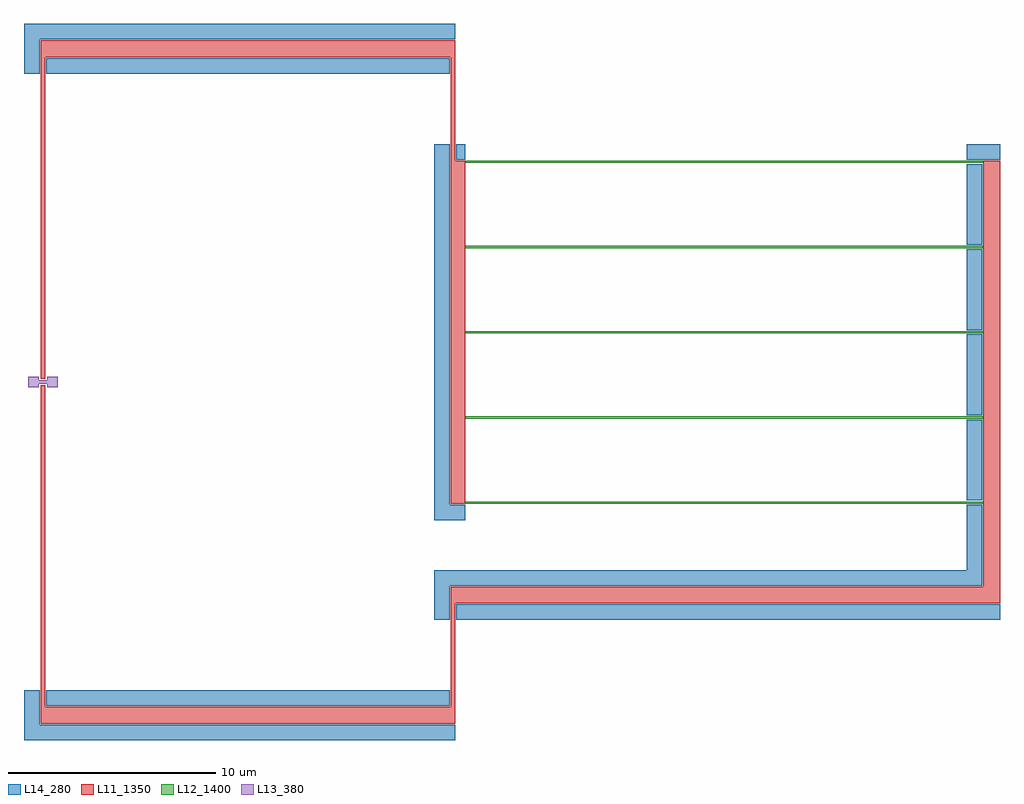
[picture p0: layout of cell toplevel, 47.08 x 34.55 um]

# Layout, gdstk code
from math import pi, radians
import gdstk
lib = gdstk.Library(unit=1e-6, precision=1e-09)
def R(c, l, rs):  # rectangles x0, y0, x1, y1
    for r in rs: c.add(gdstk.rectangle(r[:2], r[2:], *l))
def A(c, l, x, y, w, h, nx, ny, dx, dy):  # array of equal rectangles
    R(c, l, [(x+i*dx, y+j*dy, x+i*dx+w, y+j*dy+h) for i in range(nx) for j in range(ny)])
def P(c, l, *ps):  # polygons
    for p in ps: c.add(gdstk.Polygon(p, *l))
L11_1350 = (11, 1350)
L12_1400 = (12, 1400)
L13_380 = (13, 380)
L14_280 = (14, 280)

boolean012 = lib.new_cell('boolean012')
R(boolean012, L11_1350, [(-0.11,-15.675,0.11,-0.15), (-0.11,0.15,0.11,15.675)])

junction = lib.new_cell('Junction')
junction.add(gdstk.Reference(boolean012, (0,0)))

boolean013 = lib.new_cell('boolean013')
P(boolean013, L13_380, [(-0.71,0.25),(-0.71,-0.25),(-0.21,-0.25),(-0.21,-0.085),(0.21,-0.085),(0.21,-0.25),(0.71,-0.25),(0.71,0.25),(0.21,0.25),(0.21,0.085),(-0.21,0.085),(-0.21,0.25)])

josephson_junction = lib.new_cell('Josephson Junction')
josephson_junction.add(gdstk.Reference(junction, (0,0)))
josephson_junction.add(gdstk.Reference(boolean013, (0,0)))

rectangle016 = lib.new_cell('rectangle016')
R(rectangle016, L11_1350, [(-0.22,-5,0,0)])

rectangle015 = lib.new_cell('rectangle015')
R(rectangle015, L11_1350, [(-20,0,0,0.8)])

connector014 = lib.new_cell('Connector014')
connector014.add(gdstk.Reference(rectangle015, (0,0)))

boolean017 = lib.new_cell('boolean017')

boolean018 = lib.new_cell('boolean018')
R(boolean018, L14_280, [(0.16,14.875,19.62,15.625)])
P(boolean018, L14_280, [(19.89,16.525),(19.89,17.275),(-0.91,17.275),(-0.91,14.875),(-0.16,14.875),(-0.16,16.525)])

connector = lib.new_cell('Connector')
connector.add(gdstk.Reference(rectangle016, (19.89,15.675)))
connector.add(gdstk.Reference(connector014, (19.89,15.675)))
connector.add(gdstk.Reference(boolean017, (19.89,15.675)))
connector.add(gdstk.Reference(boolean018, (0,0)))

rectangle010 = lib.new_cell('rectangle010')
R(rectangle010, L11_1350, [(0,0,0.7,16.55)])

arm_connector = lib.new_cell('Arm connector')
arm_connector.add(gdstk.Reference(rectangle010, (-0.7,-16.44)))

c_l = lib.new_cell('L')
P(c_l, L11_1350, [(-0.4,-0.4),(26.1,-0.4),(26.1,0.4),(0.4,0.4),(0.4,20.95),(-0.4,20.95),(-0.4,-0.4)])

right_arm_connector = lib.new_cell('Right arm connector')
right_arm_connector.add(gdstk.Reference(c_l, (25.4,-20.84), rotation=pi, x_reflection=True))

arms = lib.new_cell('Arms')
arms.add(gdstk.Reference(arm_connector, (0,0)))
arms.add(gdstk.Reference(right_arm_connector, (0,0)))

rectangle = lib.new_cell('rectangle')
R(rectangle, L12_1400, [(0,0,25,0.11)])

resistive_segment = lib.new_cell('Resistive segment')
resistive_segment.add(gdstk.Reference(rectangle, (0,0)))

rectangle003 = lib.new_cell('rectangle003')
R(rectangle003, L12_1400, [(0,0,25,0.11)])

resistive_segment002 = lib.new_cell('Resistive segment002')
resistive_segment002.add(gdstk.Reference(rectangle003, (0,-4.11)))

rectangle005 = lib.new_cell('rectangle005')
R(rectangle005, L12_1400, [(0,0,25,0.11)])

resistive_segment004 = lib.new_cell('Resistive segment004')
resistive_segment004.add(gdstk.Reference(rectangle005, (0,-8.22)))

rectangle007 = lib.new_cell('rectangle007')
R(rectangle007, L12_1400, [(0,0,25,0.11)])

resistive_segment006 = lib.new_cell('Resistive segment006')
resistive_segment006.add(gdstk.Reference(rectangle007, (0,-12.33)))

rectangle009 = lib.new_cell('rectangle009')
R(rectangle009, L12_1400, [(0,0,25,0.11)])

resistive_segment008 = lib.new_cell('Resistive segment008')
resistive_segment008.add(gdstk.Reference(rectangle009, (0,-16.44)))

resistive_segments = lib.new_cell('Resistive segments')
resistive_segments.add(gdstk.Reference(resistive_segment, (0,0)))
resistive_segments.add(gdstk.Reference(resistive_segment002, (0,0)))
resistive_segments.add(gdstk.Reference(resistive_segment004, (0,0)))
resistive_segments.add(gdstk.Reference(resistive_segment006, (0,0)))
resistive_segments.add(gdstk.Reference(resistive_segment008, (0,0)))

boolean = lib.new_cell('boolean')

undercut = lib.new_cell('Undercut')
undercut.add(gdstk.Reference(boolean, (-0.7,-16.44)))

boolean011 = lib.new_cell('boolean011')

liftoff_undercut = lib.new_cell('Liftoff undercut')
liftoff_undercut.add(gdstk.Reference(undercut, (0,0)))
liftoff_undercut.add(gdstk.Reference(boolean011, (0,0)))

boolean019 = lib.new_cell('boolean019')
A(boolean019, L14_280, 44.57, -5.715, 0.75, 3.9, 1, 4, 0, 4.11)
R(boolean019, L14_280, [(19.94,-11.475,46.17,-10.725), (19.94,10.725,20.37,11.475), (44.57,10.725,46.17,11.475)])
P(boolean019, L14_280, [(18.87,11.475),(18.87,-6.675),(20.37,-6.675),(20.37,-5.925),(19.62,-5.925),(19.62,11.475)],
  [(45.32,-9.825),(45.32,-5.925),(44.57,-5.925),(44.57,-9.075),(18.87,-9.075),(18.87,-11.475),(19.62,-11.475),(19.62,-9.825)])

resistor = lib.new_cell('Resistor')
resistor.add(gdstk.Reference(arms, (20.37,10.565)))
resistor.add(gdstk.Reference(resistive_segments, (20.37,10.565)))
resistor.add(gdstk.Reference(liftoff_undercut, (20.37,10.565)))
resistor.add(gdstk.Reference(boolean019, (0,0)))

toplevel = lib.new_cell('toplevel')
toplevel.add(gdstk.Reference(josephson_junction, (0,0)))
toplevel.add(gdstk.Reference(connector, (0,0)))
toplevel.add(gdstk.Reference(connector, (0,0), x_reflection=True))
toplevel.add(gdstk.Reference(resistor, (0,0)))

lib.write_gds('toplevel.gds')
